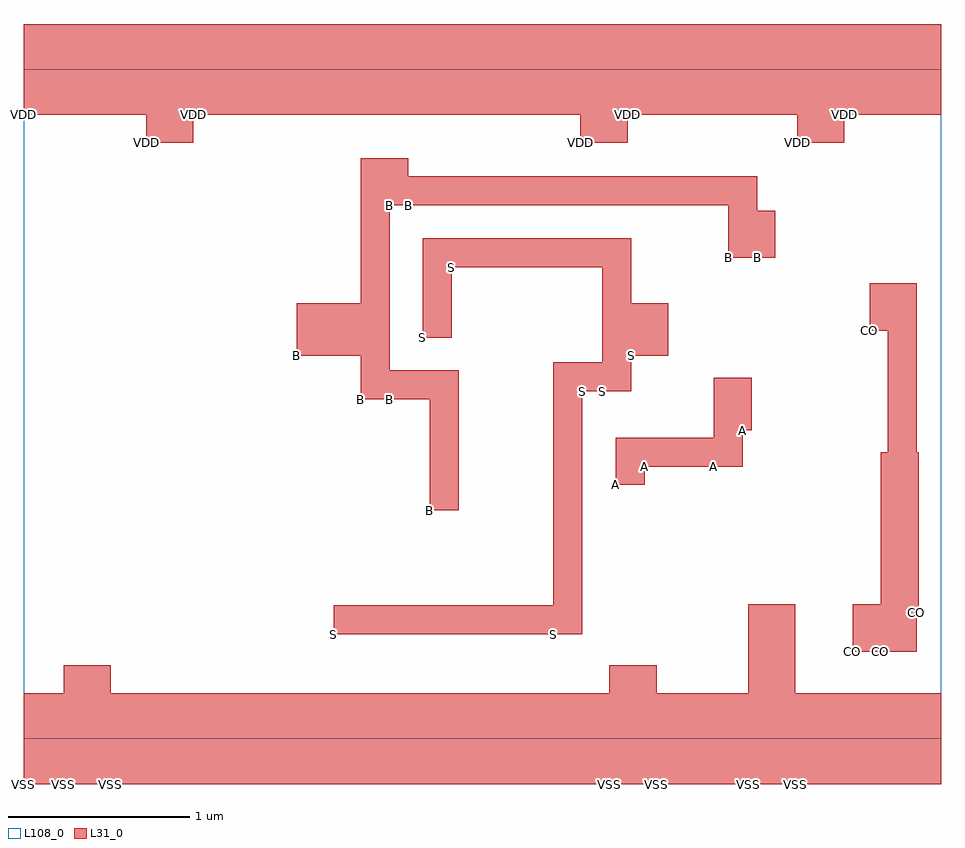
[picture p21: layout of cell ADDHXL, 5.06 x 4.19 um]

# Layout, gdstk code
import gdstk
lib = gdstk.Library(unit=1e-6, precision=1e-09)
def R(c, l, rs):  # rectangles x0, y0, x1, y1
    for r in rs: c.add(gdstk.rectangle(r[:2], r[2:], *l))
L31_0 = (31, 0)
L108_0 = (108, 0)

addhxl = lib.new_cell('ADDHXL')
R(addhxl, L31_0, [(0,-0.25,0.22,0.25), (0.22,-0.25,0.48,0.405), (0.48,-0.25,3.23,0.25), (3.23,-0.25,3.49,0.405), (3.49,-0.25,3.995,0.25), (3.995,-0.25,4.255,0.74), (4.255,-0.25,5.06,0.25), (4.57,0.48,4.725,0.74), (4.725,0.48,4.765,1.58), (4.765,0.48,4.925,2.51), (1.71,0.575,2.92,0.735), (2.92,0.575,3.08,2.075), (4.925,0.695,4.935,1.58), (2.24,1.26,2.4,2.03), (3.265,1.4,3.425,1.66), (3.425,1.5,3.805,1.66), (3.805,1.5,3.965,1.99), (3.965,1.7,4.015,1.99), (1.86,1.87,2.02,3.2), (2.02,1.87,2.24,2.03), (3.08,1.915,3.19,2.075), (3.19,1.915,3.35,2.76), (1.505,2.11,1.86,2.4), (3.35,2.11,3.555,2.4), (2.2,2.21,2.36,2.76), (4.665,2.25,4.765,2.51), (2.36,2.6,3.19,2.76), (3.885,2.65,4.045,3.1), (4.045,2.65,4.145,2.91), (2.02,2.94,2.12,3.2), (2.12,2.94,3.885,3.1), (0.675,3.285,0.935,3.94), (3.07,3.285,3.33,3.94), (4.265,3.285,4.525,3.94), (0,3.44,0.675,3.94), (0.935,3.44,3.07,3.94), (3.33,3.44,4.265,3.94), (4.525,3.44,5.06,3.94)])
R(addhxl, L108_0, [(0,0,5.06,3.69)])
addhxl.add(gdstk.Label('S', (2.2,2.21), layer=131, texttype=0))
addhxl.add(gdstk.Label('S', (1.71,0.575), layer=131, texttype=0))
addhxl.add(gdstk.Label('S', (2.92,0.575), layer=131, texttype=0))
addhxl.add(gdstk.Label('S', (2.36,2.6), layer=131, texttype=0))
addhxl.add(gdstk.Label('S', (3.08,1.915), layer=131, texttype=0))
addhxl.add(gdstk.Label('S', (3.19,1.915), layer=131, texttype=0))
addhxl.add(gdstk.Label('S', (3.35,2.11), layer=131, texttype=0))
addhxl.add(gdstk.Label('CO', (4.57,0.48), layer=131, texttype=0))
addhxl.add(gdstk.Label('CO', (4.665,2.25), layer=131, texttype=0))
addhxl.add(gdstk.Label('CO', (4.725,0.48), layer=131, texttype=0))
addhxl.add(gdstk.Label('CO', (4.765,0.48), layer=131, texttype=0))
addhxl.add(gdstk.Label('CO', (4.925,0.695), layer=131, texttype=0))
addhxl.add(gdstk.Label('B', (1.505,2.11), layer=131, texttype=0))
addhxl.add(gdstk.Label('B', (1.86,1.87), layer=131, texttype=0))
addhxl.add(gdstk.Label('B', (2.02,2.94), layer=131, texttype=0))
addhxl.add(gdstk.Label('B', (2.02,1.87), layer=131, texttype=0))
addhxl.add(gdstk.Label('B', (2.24,1.26), layer=131, texttype=0))
addhxl.add(gdstk.Label('B', (2.12,2.94), layer=131, texttype=0))
addhxl.add(gdstk.Label('B', (3.885,2.65), layer=131, texttype=0))
addhxl.add(gdstk.Label('B', (4.045,2.65), layer=131, texttype=0))
addhxl.add(gdstk.Label('A', (3.265,1.4), layer=131, texttype=0))
addhxl.add(gdstk.Label('A', (3.425,1.5), layer=131, texttype=0))
addhxl.add(gdstk.Label('A', (3.805,1.5), layer=131, texttype=0))
addhxl.add(gdstk.Label('A', (3.965,1.7), layer=131, texttype=0))
addhxl.add(gdstk.Label('VSS', (0,-0.25), layer=131, texttype=0))
addhxl.add(gdstk.Label('VSS', (0.22,-0.25), layer=131, texttype=0))
addhxl.add(gdstk.Label('VSS', (0.48,-0.25), layer=131, texttype=0))
addhxl.add(gdstk.Label('VSS', (3.23,-0.25), layer=131, texttype=0))
addhxl.add(gdstk.Label('VSS', (3.49,-0.25), layer=131, texttype=0))
addhxl.add(gdstk.Label('VSS', (3.995,-0.25), layer=131, texttype=0))
addhxl.add(gdstk.Label('VSS', (4.255,-0.25), layer=131, texttype=0))
addhxl.add(gdstk.Label('VDD', (0,3.44), layer=131, texttype=0))
addhxl.add(gdstk.Label('VDD', (0.675,3.285), layer=131, texttype=0))
addhxl.add(gdstk.Label('VDD', (0.935,3.44), layer=131, texttype=0))
addhxl.add(gdstk.Label('VDD', (3.07,3.285), layer=131, texttype=0))
addhxl.add(gdstk.Label('VDD', (3.33,3.44), layer=131, texttype=0))
addhxl.add(gdstk.Label('VDD', (4.265,3.285), layer=131, texttype=0))
addhxl.add(gdstk.Label('VDD', (4.525,3.44), layer=131, texttype=0))

lib.write_gds('ADDHXL.gds')
